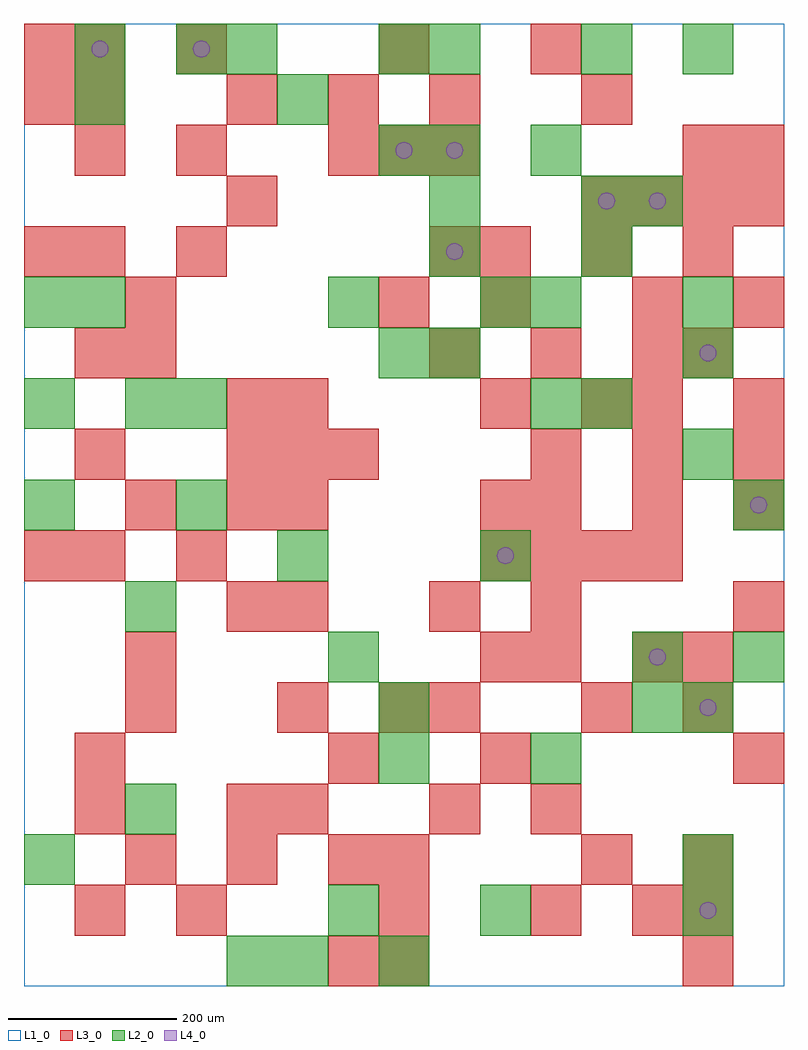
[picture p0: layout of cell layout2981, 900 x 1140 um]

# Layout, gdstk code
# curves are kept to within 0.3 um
import gdstk
lib = gdstk.Library(unit=1e-6, precision=1e-09)
def R(c, l, rs):  # rectangles x0, y0, x1, y1
    for r in rs: c.add(gdstk.rectangle(r[:2], r[2:], *l))
def A(c, l, x, y, w, h, nx, ny, dx, dy):  # array of equal rectangles
    R(c, l, [(x+i*dx, y+j*dy, x+i*dx+w, y+j*dy+h) for i in range(nx) for j in range(ny)])
def P(c, l, *ps):  # polygons
    for p in ps: c.add(gdstk.Polygon(p, *l))
L1_0 = (1, 0)
L2_0 = (2, 0)
L3_0 = (3, 0)
L4_0 = (4, 0)

layout2981 = lib.new_cell('layout2981')
R(layout2981, L1_0, [(0,0,900,1140)])
A(layout2981, L2_0, 120, 180, 60, 60, 1, 3, 0, 240)
A(layout2981, L2_0, 0, 540, 60, 60, 1, 3, 0, 120)
A(layout2981, L2_0, 480, 840, 60, 60, 1, 3, 0, 60)
R(layout2981, L2_0, [(240,0,300,60), (300,0,360,60), (420,0,480,60), (360,60,420,120), (540,60,600,120), (780,60,840,120), (0,120,60,180), (780,120,840,180), (420,240,480,300), (600,240,660,300), (420,300,480,360), (720,300,780,360), (780,300,840,360), (360,360,420,420), (720,360,780,420), (840,360,900,420), (300,480,360,540), (540,480,600,540), (180,540,240,600), (840,540,900,600), (780,600,840,660), (180,660,240,720), (600,660,660,720), (660,660,720,720), (420,720,480,780), (480,720,540,780), (780,720,840,780), (60,780,120,840), (360,780,420,840), (540,780,600,840), (600,780,660,840), (780,780,840,840), (660,840,720,900), (660,900,720,960), (720,900,780,960), (420,960,480,1020), (600,960,660,1020), (60,1020,120,1080), (300,1020,360,1080), (60,1080,120,1140), (180,1080,240,1140), (240,1080,300,1140), (420,1080,480,1140), (480,1080,540,1140), (660,1080,720,1140), (780,1080,840,1140)])
A(layout2981, L3_0, 420, 0, 60, 60, 1, 3, 0, 60)
A(layout2981, L3_0, 780, 0, 60, 60, 1, 3, 0, 60)
A(layout2981, L3_0, 720, 60, 60, 60, 1, 3, 0, 300)
A(layout2981, L3_0, 120, 120, 60, 60, 3, 1, 120, 0)
A(layout2981, L3_0, 300, 180, 60, 60, 1, 5, 0, 120)
A(layout2981, L3_0, 480, 180, 60, 60, 1, 3, 0, 120)
A(layout2981, L3_0, 660, 300, 60, 60, 1, 3, 0, 360)
A(layout2981, L3_0, 120, 360, 60, 60, 1, 3, 0, 180)
A(layout2981, L3_0, 240, 420, 60, 60, 1, 3, 0, 120)
A(layout2981, L3_0, 60, 480, 60, 60, 1, 5, 0, 120)
A(layout2981, L3_0, 540, 480, 60, 60, 4, 1, 60, 0)
A(layout2981, L3_0, 540, 540, 60, 60, 1, 3, 0, 120)
A(layout2981, L3_0, 600, 540, 60, 60, 3, 2, 120, 60)
A(layout2981, L3_0, 240, 600, 60, 60, 3, 1, 60, 0)
A(layout2981, L3_0, 480, 720, 60, 60, 3, 1, 120, 0)
A(layout2981, L3_0, 180, 840, 60, 60, 1, 3, 0, 120)
A(layout2981, L3_0, 540, 840, 60, 60, 3, 1, 120, 0)
A(layout2981, L3_0, 660, 900, 60, 60, 4, 1, 60, 0)
A(layout2981, L3_0, 360, 960, 60, 60, 3, 1, 60, 0)
A(layout2981, L3_0, 240, 1020, 60, 60, 3, 1, 120, 0)
R(layout2981, L3_0, [(360,0,420,60), (60,60,120,120), (180,60,240,120), (600,60,660,120), (660,120,720,180), (60,180,120,240), (240,180,300,240), (600,180,660,240), (60,240,120,300), (360,240,420,300), (540,240,600,300), (840,240,900,300), (120,300,180,360), (420,300,480,360), (780,300,840,360), (540,360,600,420), (600,360,660,420), (780,360,840,420), (600,420,660,480), (840,420,900,480), (0,480,60,540), (180,480,240,540), (840,660,900,720), (780,720,840,780), (120,780,180,840), (420,780,480,840), (720,780,780,840), (840,780,900,840), (0,840,60,900), (480,840,540,900), (240,900,300,960), (780,960,840,1020), (840,960,900,1020), (0,1020,60,1080), (60,1020,120,1080), (0,1080,60,1140), (60,1080,120,1140), (420,1080,480,1140), (600,1080,660,1140)])
P(layout2981, L4_0, [(100,1110),(99.239,1113.827),(97.071,1117.071),(93.827,1119.239),(90,1120),(86.173,1119.239),(82.929,1117.071),(80.761,1113.827),(80,1110),(80.761,1106.173),(82.929,1102.929),(86.173,1100.761),(90,1100),(93.827,1100.761),(97.071,1102.929),(99.239,1106.173)],
  [(220,1110),(219.239,1113.827),(217.071,1117.071),(213.827,1119.239),(210,1120),(206.173,1119.239),(202.929,1117.071),(200.761,1113.827),(200,1110),(200.761,1106.173),(202.929,1102.929),(206.173,1100.761),(210,1100),(213.827,1100.761),(217.071,1102.929),(219.239,1106.173)],
  [(460,990),(459.239,993.827),(457.071,997.071),(453.827,999.239),(450,1000),(446.173,999.239),(442.929,997.071),(440.761,993.827),(440,990),(440.761,986.173),(442.929,982.929),(446.173,980.761),(450,980),(453.827,980.761),(457.071,982.929),(459.239,986.173)],
  [(520,870),(519.239,873.827),(517.071,877.071),(513.827,879.239),(510,880),(506.173,879.239),(502.929,877.071),(500.761,873.827),(500,870),(500.761,866.173),(502.929,862.929),(506.173,860.761),(510,860),(513.827,860.761),(517.071,862.929),(519.239,866.173)],
  [(520,990),(519.239,993.827),(517.071,997.071),(513.827,999.239),(510,1000),(506.173,999.239),(502.929,997.071),(500.761,993.827),(500,990),(500.761,986.173),(502.929,982.929),(506.173,980.761),(510,980),(513.827,980.761),(517.071,982.929),(519.239,986.173)],
  [(580,510),(579.239,513.827),(577.071,517.071),(573.827,519.239),(570,520),(566.173,519.239),(562.929,517.071),(560.761,513.827),(560,510),(560.761,506.173),(562.929,502.929),(566.173,500.761),(570,500),(573.827,500.761),(577.071,502.929),(579.239,506.173)],
  [(700,930),(699.239,933.827),(697.071,937.071),(693.827,939.239),(690,940),(686.173,939.239),(682.929,937.071),(680.761,933.827),(680,930),(680.761,926.173),(682.929,922.929),(686.173,920.761),(690,920),(693.827,920.761),(697.071,922.929),(699.239,926.173)],
  [(760,390),(759.239,393.827),(757.071,397.071),(753.827,399.239),(750,400),(746.173,399.239),(742.929,397.071),(740.761,393.827),(740,390),(740.761,386.173),(742.929,382.929),(746.173,380.761),(750,380),(753.827,380.761),(757.071,382.929),(759.239,386.173)],
  [(760,930),(759.239,933.827),(757.071,937.071),(753.827,939.239),(750,940),(746.173,939.239),(742.929,937.071),(740.761,933.827),(740,930),(740.761,926.173),(742.929,922.929),(746.173,920.761),(750,920),(753.827,920.761),(757.071,922.929),(759.239,926.173)],
  [(820,90),(819.239,93.827),(817.071,97.071),(813.827,99.239),(810,100),(806.173,99.239),(802.929,97.071),(800.761,93.827),(800,90),(800.761,86.173),(802.929,82.929),(806.173,80.761),(810,80),(813.827,80.761),(817.071,82.929),(819.239,86.173)],
  [(820,330),(819.239,333.827),(817.071,337.071),(813.827,339.239),(810,340),(806.173,339.239),(802.929,337.071),(800.761,333.827),(800,330),(800.761,326.173),(802.929,322.929),(806.173,320.761),(810,320),(813.827,320.761),(817.071,322.929),(819.239,326.173)],
  [(820,750),(819.239,753.827),(817.071,757.071),(813.827,759.239),(810,760),(806.173,759.239),(802.929,757.071),(800.761,753.827),(800,750),(800.761,746.173),(802.929,742.929),(806.173,740.761),(810,740),(813.827,740.761),(817.071,742.929),(819.239,746.173)],
  [(880,570),(879.239,573.827),(877.071,577.071),(873.827,579.239),(870,580),(866.173,579.239),(862.929,577.071),(860.761,573.827),(860,570),(860.761,566.173),(862.929,562.929),(866.173,560.761),(870,560),(873.827,560.761),(877.071,562.929),(879.239,566.173)])

lib.write_gds('layout2981.gds')
